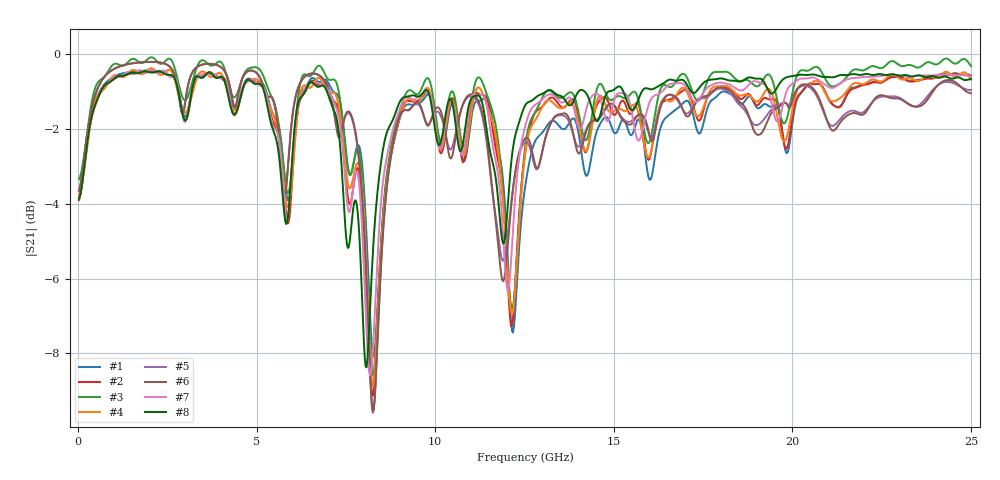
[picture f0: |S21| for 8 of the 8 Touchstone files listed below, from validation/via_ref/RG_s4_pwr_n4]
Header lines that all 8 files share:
# Hz S RI R 50
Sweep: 25 MHz to 25 GHz
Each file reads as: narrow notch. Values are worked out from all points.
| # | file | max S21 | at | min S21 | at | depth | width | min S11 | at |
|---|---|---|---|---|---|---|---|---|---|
| 1 | cst.s2p | -0.43 dB | 1.925 GHz | -8.1 dB | 8.275 GHz | 6.8 dB | 437 MHz | -46.2 dB | 3.25 GHz |
| 2 | cst_fine.s2p | -0.47 dB | 2.3 GHz | -9.1 dB | 8.25 GHz | 7.9 dB | 464 MHz | -44.2 dB | 3.8 GHz |
| 3 | deembedded.s2p | -0.09 dB | 2.05 GHz | -8.6 dB | 8.25 GHz | 7.8 dB | 460 MHz | -45.8 dB | 3.5 GHz |
| 4 | kisi.s2p | -0.38 dB | 2.05 GHz | -8.9 dB | 8.25 GHz | 7.7 dB | 453 MHz | -36.9 dB | 2.325 GHz |
| 5 | ladder_grid_ret.s2p | -0.21 dB | 2.025 GHz | -9.6 dB | 8.25 GHz | 8.2 dB | 444 MHz | -52.2 dB | 2.175 GHz |
| 6 | ladder_rect_ret.s2p | -0.21 dB | 2.025 GHz | -9.5 dB | 8.25 GHz | 8.2 dB | 447 MHz | -61.6 dB | 24.6 GHz |
| 7 | openems.s2p | -0.42 dB | 2.075 GHz | -8.6 dB | 8.175 GHz | 7.6 dB | 461 MHz | -39.5 dB | 3.575 GHz |
| 8 | openems_base.s2p | -0.46 dB | 1.875 GHz | -8.4 dB | 8.075 GHz | 7.5 dB | 438 MHz | -35.6 dB | 3.675 GHz |
